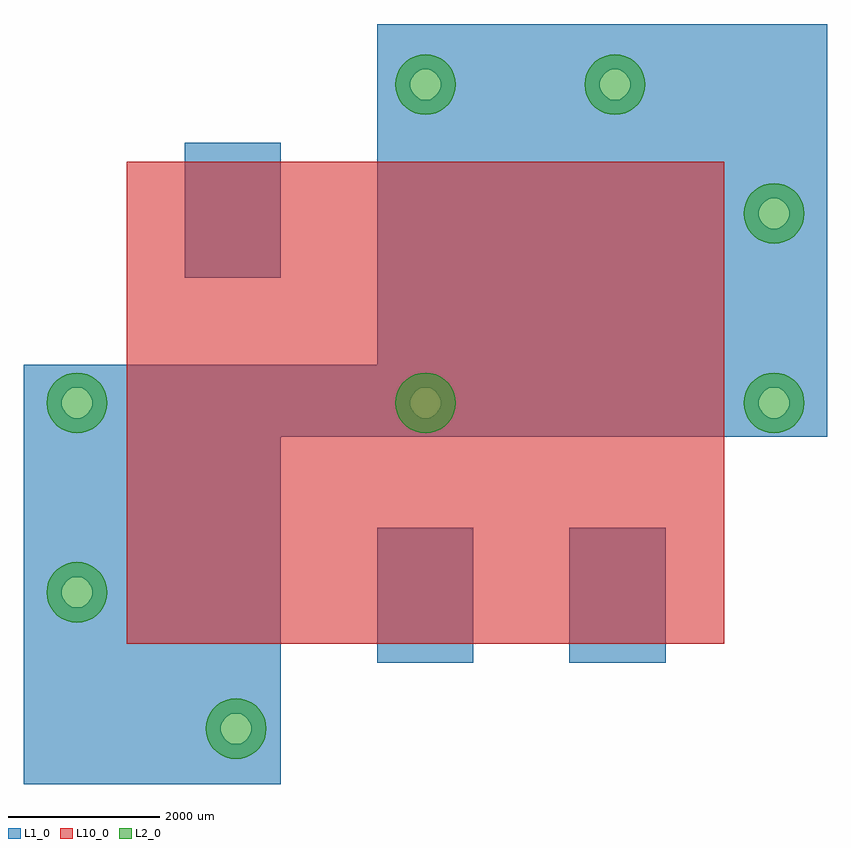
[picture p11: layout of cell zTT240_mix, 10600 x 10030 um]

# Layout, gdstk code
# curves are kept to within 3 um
import gdstk
lib = gdstk.Library(unit=1e-6, precision=1e-09)
def R(c, l, rs):  # rectangles x0, y0, x1, y1
    for r in rs: c.add(gdstk.rectangle(r[:2], r[2:], *l))
def A(c, l, x, y, w, h, nx, ny, dx, dy):  # array of equal rectangles
    R(c, l, [(x+i*dx, y+j*dy, x+i*dx+w, y+j*dy+h) for i in range(nx) for j in range(ny)])
def P(c, l, *ps):  # polygons
    for p in ps: c.add(gdstk.Polygon(p, *l))
L1_0 = (1, 0)
L2_0 = (2, 0)
L10_0 = (10, 0)

ztt240_mix = lib.new_cell('zTT240_mix')
A(ztt240_mix, L1_0, -3180, -3430, 1270, 1780, 3, 2, 2540, 5080)
R(ztt240_mix, L1_0, [(-1910,-450,-640,500)])
P(ztt240_mix, L1_0, [(-130,-150),(-150,-130),(-190,-70),(-200,-30),(-200,30),(-190,70),(-150,130),(-130,150),(-70,190),(-30,200),(0,200),(0,4000),(-30,4000),(-70,4010),(-130,4050),(-150,4070),(-190,4130),(-200,4170),(-200,4230),(-190,4270),(-150,4330),(-130,4350),(-70,4390),(-30,4400),(30,4400),(70,4390),(130,4350),(150,4330),(190,4270),(200,4230),(200,4170),(190,4130),(150,4070),(130,4050),(70,4010),(30,4000),(0,4000),(0,200),(30,200),(70,190),(130,150),(150,130),(190,70),(200,30),(200,-30),(190,-70),(150,-130),(130,-150),(70,-190),(30,-200),(0,-200),(0,-450),(2500,-450),(2500,4000),(2470,4000),(2430,4010),(2370,4050),(2350,4070),(2310,4130),(2300,4170),(2300,4230),(2310,4270),(2350,4330),(2370,4350),(2430,4390),(2470,4400),(2530,4400),(2570,4390),(2630,4350),(2650,4330),(2690,4270),(2700,4230),(2700,4170),(2690,4130),(2650,4070),(2630,4050),(2570,4010),(2530,4000),(2500,4000),(2500,-450),(4600,-450),(4600,-200),(4570,-200),(4530,-190),(4470,-150),(4450,-130),(4410,-70),(4400,-30),(4400,30),(4410,70),(4450,130),(4470,150),(4530,190),(4570,200),(4600,200),(4600,2300),(4570,2300),(4530,2310),(4470,2350),(4450,2370),(4410,2430),(4400,2470),(4400,2530),(4410,2570),(4450,2630),(4470,2650),(4530,2690),(4570,2700),(4630,2700),(4670,2690),(4730,2650),(4750,2630),(4790,2570),(4800,2530),(4800,2470),(4790,2430),(4750,2370),(4730,2350),(4670,2310),(4630,2300),(4600,2300),(4600,200),(4630,200),(4670,190),(4730,150),(4750,130),(4790,70),(4800,30),(4800,-30),(4790,-70),(4750,-130),(4730,-150),(4670,-190),(4630,-200),(4600,-200),(4600,-450),(5300,-450),(5300,5000),(-640,5000),(-640,-450),(0,-450),(0,-200),(-30,-200),(-70,-190)],
  [(-4730,-2650),(-4750,-2630),(-4790,-2570),(-4800,-2530),(-4800,-2470),(-4790,-2430),(-4750,-2370),(-4730,-2350),(-4670,-2310),(-4630,-2300),(-4600,-2300),(-4600,-200),(-4630,-200),(-4670,-190),(-4730,-150),(-4750,-130),(-4790,-70),(-4800,-30),(-4800,30),(-4790,70),(-4750,130),(-4730,150),(-4670,190),(-4630,200),(-4570,200),(-4530,190),(-4470,150),(-4450,130),(-4410,70),(-4400,30),(-4400,-30),(-4410,-70),(-4450,-130),(-4470,-150),(-4530,-190),(-4570,-200),(-4600,-200),(-4600,-2300),(-4570,-2300),(-4530,-2310),(-4470,-2350),(-4450,-2370),(-4410,-2430),(-4400,-2470),(-4400,-2530),(-4410,-2570),(-4450,-2630),(-4470,-2650),(-4530,-2690),(-4570,-2700),(-4600,-2700),(-4600,-5030),(-2500,-5030),(-2500,-4500),(-2530,-4500),(-2570,-4490),(-2630,-4450),(-2650,-4430),(-2690,-4370),(-2700,-4330),(-2700,-4270),(-2690,-4230),(-2650,-4170),(-2630,-4150),(-2570,-4110),(-2530,-4100),(-2470,-4100),(-2430,-4110),(-2370,-4150),(-2350,-4170),(-2310,-4230),(-2300,-4270),(-2300,-4330),(-2310,-4370),(-2350,-4430),(-2370,-4450),(-2430,-4490),(-2470,-4500),(-2500,-4500),(-2500,-5030),(-1910,-5030),(-1910,500),(-5300,500),(-5300,-5030),(-4600,-5030),(-4600,-2700),(-4630,-2700),(-4670,-2690)])
P(ztt240_mix, L2_0, [(2900,4200),(2893.923,4130.541),(2875.877,4063.192),(2846.41,4000),(2806.418,3942.885),(2757.115,3893.582),(2700,3853.59),(2636.808,3824.123),(2569.459,3806.077),(2500,3800),(2430.541,3806.077),(2363.192,3824.123),(2300,3853.59),(2242.885,3893.582),(2193.582,3942.885),(2153.59,4000),(2124.123,4063.192),(2106.077,4130.541),(2100,4200),(2106.077,4269.459),(2124.123,4336.808),(2153.59,4400),(2193.582,4457.115),(2242.885,4506.418),(2300,4546.41),(2363.192,4575.877),(2430.541,4593.923),(2500,4600),(2569.459,4593.923),(2636.808,4575.877),(2700,4546.41),(2757.115,4506.418),(2806.418,4457.115),(2846.41,4400),(2875.877,4336.808),(2893.923,4269.459)],
  [(5000,2500),(4993.923,2430.541),(4975.877,2363.192),(4946.41,2300),(4906.418,2242.885),(4857.115,2193.582),(4800,2153.59),(4736.808,2124.123),(4669.459,2106.077),(4600,2100),(4530.541,2106.077),(4463.192,2124.123),(4400,2153.59),(4342.885,2193.582),(4293.582,2242.885),(4253.59,2300),(4224.123,2363.192),(4206.077,2430.541),(4200,2500),(4206.077,2569.459),(4224.123,2636.808),(4253.59,2700),(4293.582,2757.115),(4342.885,2806.418),(4400,2846.41),(4463.192,2875.877),(4530.541,2893.923),(4600,2900),(4669.459,2893.923),(4736.808,2875.877),(4800,2846.41),(4857.115,2806.418),(4906.418,2757.115),(4946.41,2700),(4975.877,2636.808),(4993.923,2569.459)],
  [(-2100,-4300),(-2106.077,-4369.459),(-2124.123,-4436.808),(-2153.59,-4500),(-2193.582,-4557.115),(-2242.885,-4606.418),(-2300,-4646.41),(-2363.192,-4675.877),(-2430.541,-4693.923),(-2500,-4700),(-2569.459,-4693.923),(-2636.808,-4675.877),(-2700,-4646.41),(-2757.115,-4606.418),(-2806.418,-4557.115),(-2846.41,-4500),(-2875.877,-4436.808),(-2893.923,-4369.459),(-2900,-4300),(-2893.923,-4230.541),(-2875.877,-4163.192),(-2846.41,-4100),(-2806.418,-4042.885),(-2757.115,-3993.582),(-2700,-3953.59),(-2636.808,-3924.123),(-2569.459,-3906.077),(-2500,-3900),(-2430.541,-3906.077),(-2363.192,-3924.123),(-2300,-3953.59),(-2242.885,-3993.582),(-2193.582,-4042.885),(-2153.59,-4100),(-2124.123,-4163.192),(-2106.077,-4230.541)],
  [(400,0),(393.923,-69.459),(375.877,-136.808),(346.41,-200),(306.418,-257.115),(257.115,-306.418),(200,-346.41),(136.808,-375.877),(69.459,-393.923),(0,-400),(-69.459,-393.923),(-136.808,-375.877),(-200,-346.41),(-257.115,-306.418),(-306.418,-257.115),(-346.41,-200),(-375.877,-136.808),(-393.923,-69.459),(-400,0),(-393.923,69.459),(-375.877,136.808),(-346.41,200),(-306.418,257.115),(-257.115,306.418),(-200,346.41),(-136.808,375.877),(-69.459,393.923),(0,400),(69.459,393.923),(136.808,375.877),(200,346.41),(257.115,306.418),(306.418,257.115),(346.41,200),(375.877,136.808),(393.923,69.459)],
  [(-4200,-2500),(-4206.077,-2569.459),(-4224.123,-2636.808),(-4253.59,-2700),(-4293.582,-2757.115),(-4342.885,-2806.418),(-4400,-2846.41),(-4463.192,-2875.877),(-4530.541,-2893.923),(-4600,-2900),(-4669.459,-2893.923),(-4736.808,-2875.877),(-4800,-2846.41),(-4857.115,-2806.418),(-4906.418,-2757.115),(-4946.41,-2700),(-4975.877,-2636.808),(-4993.923,-2569.459),(-5000,-2500),(-4993.923,-2430.541),(-4975.877,-2363.192),(-4946.41,-2300),(-4906.418,-2242.885),(-4857.115,-2193.582),(-4800,-2153.59),(-4736.808,-2124.123),(-4669.459,-2106.077),(-4600,-2100),(-4530.541,-2106.077),(-4463.192,-2124.123),(-4400,-2153.59),(-4342.885,-2193.582),(-4293.582,-2242.885),(-4253.59,-2300),(-4224.123,-2363.192),(-4206.077,-2430.541)],
  [(-4200,0),(-4206.077,-69.459),(-4224.123,-136.808),(-4253.59,-200),(-4293.582,-257.115),(-4342.885,-306.418),(-4400,-346.41),(-4463.192,-375.877),(-4530.541,-393.923),(-4600,-400),(-4669.459,-393.923),(-4736.808,-375.877),(-4800,-346.41),(-4857.115,-306.418),(-4906.418,-257.115),(-4946.41,-200),(-4975.877,-136.808),(-4993.923,-69.459),(-5000,0),(-4993.923,69.459),(-4975.877,136.808),(-4946.41,200),(-4906.418,257.115),(-4857.115,306.418),(-4800,346.41),(-4736.808,375.877),(-4669.459,393.923),(-4600,400),(-4530.541,393.923),(-4463.192,375.877),(-4400,346.41),(-4342.885,306.418),(-4293.582,257.115),(-4253.59,200),(-4224.123,136.808),(-4206.077,69.459)],
  [(5000,0),(4993.923,-69.459),(4975.877,-136.808),(4946.41,-200),(4906.418,-257.115),(4857.115,-306.418),(4800,-346.41),(4736.808,-375.877),(4669.459,-393.923),(4600,-400),(4530.541,-393.923),(4463.192,-375.877),(4400,-346.41),(4342.885,-306.418),(4293.582,-257.115),(4253.59,-200),(4224.123,-136.808),(4206.077,-69.459),(4200,0),(4206.077,69.459),(4224.123,136.808),(4253.59,200),(4293.582,257.115),(4342.885,306.418),(4400,346.41),(4463.192,375.877),(4530.541,393.923),(4600,400),(4669.459,393.923),(4736.808,375.877),(4800,346.41),(4857.115,306.418),(4906.418,257.115),(4946.41,200),(4975.877,136.808),(4993.923,69.459)],
  [(400,4200),(393.923,4130.541),(375.877,4063.192),(346.41,4000),(306.418,3942.885),(257.115,3893.582),(200,3853.59),(136.808,3824.123),(69.459,3806.077),(0,3800),(-69.459,3806.077),(-136.808,3824.123),(-200,3853.59),(-257.115,3893.582),(-306.418,3942.885),(-346.41,4000),(-375.877,4063.192),(-393.923,4130.541),(-400,4200),(-393.923,4269.459),(-375.877,4336.808),(-346.41,4400),(-306.418,4457.115),(-257.115,4506.418),(-200,4546.41),(-136.808,4575.877),(-69.459,4593.923),(0,4600),(69.459,4593.923),(136.808,4575.877),(200,4546.41),(257.115,4506.418),(306.418,4457.115),(346.41,4400),(375.877,4336.808),(393.923,4269.459)])
R(ztt240_mix, L10_0, [(-3940,-3180,3940,3180)])
ztt240_mix.add(gdstk.FlexPath([(-3180,3180),(-1910,3180)], 0, ends="round", simple_path=True, layer=10, datatype=0))  # L10_0
ztt240_mix.add(gdstk.FlexPath([(630,-3180),(-640,-3180)], 0, ends="round", simple_path=True, layer=10, datatype=0))  # L10_0
ztt240_mix.add(gdstk.FlexPath([(3170,-3180),(1900,-3180)], 0, ends="round", simple_path=True, layer=10, datatype=0))  # L10_0

lib.write_gds('zTT240_mix.gds')
